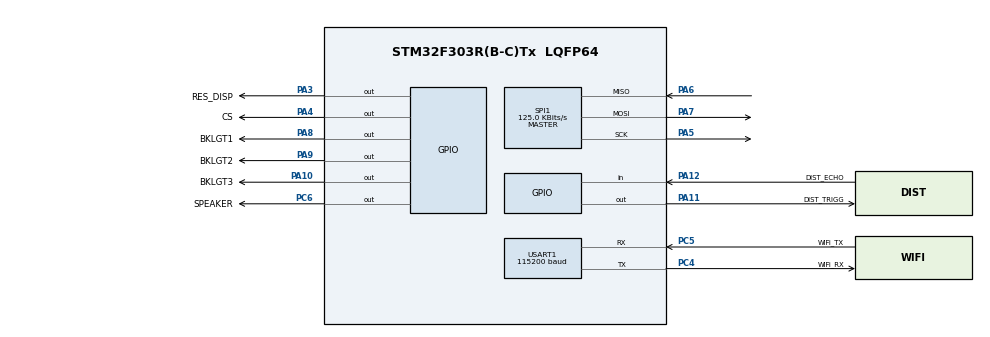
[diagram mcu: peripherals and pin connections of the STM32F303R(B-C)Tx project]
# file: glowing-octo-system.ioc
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Mcu.Family=STM32F3
Mcu.Name=STM32F303R(B-C)Tx
Mcu.Package=LQFP64
NVIC.PriorityGroup=NVIC_PRIORITYGROUP_4
NVIC.SPI1_IRQn=true\:0\:0\:false\:false\:true\:true
NVIC.USART1_IRQn=true\:0\:0\:false\:false\:true\:true
PA10.GPIO_Label=BKLGT3
PA10.Signal=GPIO_Output
PA11.GPIO_Label=DIST_TRIGG
PA11.GPIO_ModeDefaultOutputPP=GPIO_MODE_OUTPUT_PP
PA11.GPIO_PuPd=GPIO_NOPULL
PA11.GPIO_Speed=GPIO_SPEED_FREQ_LOW
PA11.PinState=GPIO_PIN_RESET
PA11.Signal=GPIO_Output
PA12.GPIO_Label=DIST_ECHO
PA12.GPIO_Mode=GPIO_MODE_INPUT
PA12.GPIO_PuPd=GPIO_PULLDOWN
PA12.Signal=GPIO_Input
PA13.Mode=Serial_Wire
PA13.Signal=SYS_JTMS-SWDIO
PA14.Mode=Serial_Wire
PA14.Signal=SYS_JTCK-SWCLK
PA3.GPIO_Label=RES_DISP
PA3.GPIO_ModeDefaultOutputPP=GPIO_MODE_OUTPUT_PP
PA3.GPIO_PuPd=GPIO_NOPULL
PA3.GPIO_Speed=GPIO_SPEED_FREQ_LOW
PA3.PinState=GPIO_PIN_SET
PA3.Signal=GPIO_Output
PA4.GPIO_Label=CS
PA4.PinState=GPIO_PIN_SET
PA4.Signal=GPIO_Output
PA5.Mode=Full_Duplex_Master
PA5.Signal=SPI1_SCK
PA6.Mode=Full_Duplex_Master
PA6.Signal=SPI1_MISO
PA7.Mode=Full_Duplex_Master
PA7.Signal=SPI1_MOSI
PA8.GPIO_Label=BKLGT1
PA8.Signal=GPIO_Output
PA9.GPIO_Label=BKLGT2
PA9.Signal=GPIO_Output
PC4.GPIO_Label=WiFi_RX
PC4.GPIO_ModeDefaultPP=GPIO_MODE_AF_PP
PC4.GPIO_PuPd=GPIO_NOPULL
PC4.GPIO_Speed=GPIO_SPEED_FREQ_HIGH
PC4.Mode=Asynchronous
PC4.Signal=USART1_TX
PC5.GPIO_Label=WiFi_TX
PC5.GPIO_ModeDefaultPP=GPIO_MODE_AF_PP
PC5.GPIO_PuPd=GPIO_NOPULL
PC5.GPIO_Speed=GPIO_SPEED_FREQ_HIGH
PC5.Mode=Asynchronous
PC5.Signal=USART1_RX
PC6.GPIO_Label=SPEAKER
PC6.GPIO_ModeDefaultOutputPP=GPIO_MODE_OUTPUT_PP
PC6.GPIO_PuPd=GPIO_NOPULL
PC6.GPIO_Speed=GPIO_SPEED_FREQ_LOW
PC6.PinState=GPIO_PIN_RESET
PC6.Signal=GPIO_Output
ProjectManager.HeapSize=0x200
ProjectManager.StackSize=0x400
ProjectManager.TargetToolchain=SW4STM32
RCC.AHBFreq_Value=8000000
RCC.APB1Freq_Value=8000000
RCC.APB1TimFreq_Value=8000000
RCC.APB2Freq_Value=8000000
RCC.APB2TimFreq_Value=8000000
RCC.CortexFreq_Value=8000000
RCC.HCLKFreq_Value=8000000
RCC.HSE_VALUE=8000000
RCC.HSI_VALUE=8000000
RCC.LSE_VALUE=32768
RCC.SYSCLKFreq_VALUE=8000000
RCC.USBFreq_Value=8000000
SPI1.BaudRatePrescaler=SPI_BAUDRATEPRESCALER_64
SPI1.CLKPhase=SPI_PHASE_2EDGE
SPI1.CLKPolarity=SPI_POLARITY_HIGH
SPI1.CalculateBaudRate=125.0 KBits/s
SPI1.DataSize=SPI_DATASIZE_8BIT
SPI1.Direction=SPI_DIRECTION_2LINES
SPI1.FirstBit=SPI_FIRSTBIT_LSB
SPI1.Mode=SPI_MODE_MASTER
SPI1.VirtualType=VM_MASTER
TIM1.Period=0xffff
TIM1.Prescaler=7
USART1.AutoBaudRateEnableParam=UART_ADVFEATURE_AUTOBAUDRATE_DISABLE
USART1.BaudRate=115200
USART1.VirtualMode-Asynchronous=VM_ASYNC
USART1.WordLength=WORDLENGTH_8B
VP_TIM1_VS_ClockSourceINT.Mode=Internal
board=custom

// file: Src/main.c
/* USER CODE BEGIN Header */
/**
*******************************************************************************
* @brief   		Main class
* @file    		main.c
* @author  		Anton Åbonde
* @version 		1.0
* @date    		2019-04-05
* @brief 		This class initializes all peripherals that are used in the
* 				program. In the infinite loop the unit listens for new data
* 				from the WiFi-module and if it is updated the new data will
* 				be printed.
*******************************************************************************
*/
/* USER CODE END Header */

#include "main.h"
#include "spi.h"
#include "tim.h"
#include "usart.h"
#include "gpio.h"

/* USER CODE BEGIN Includes */

#include "clockinit.h"
#include "display_functions.h"
#include "distance_sensor_functions.h"
#include "wifi_functions.h"

/* USER CODE END Includes */

void SystemClock_Config(void);

int main(void)
{

  /* MCU Configuration--------------------------------------------------------*/

  /* Reset of all peripherals, Initializes the Flash interface and the Systick. */
  HAL_Init();

  /* USER CODE BEGIN Init */
  // Initialize use of printf
  initialise_monitor_handles();
  /* USER CODE END Init */

  /* Configure the system clock */
  SystemClock_Config();

  /* Initialize all configured peripherals */
  MX_GPIO_Init();
  MX_TIM1_Init();
  MX_SPI1_Init();
  MX_USART1_UART_Init();
  /* USER CODE BEGIN 2 */
  HAL_SPI_MspInit(&hspi1);
  HAL_UART_MspInit(&huart1);
  LCD_Init();
  /* USER CODE END 2 */

  /* Infinite loop */

  /* USER CODE BEGIN WHILE */
//  float distance;
  int 	backlight_counter = 0,
  		update_counter = 1000;

  // Test the distance sensor and writes the result to the terminal.
  while(1){
	  /* USER CODE END WHILE */
	  /* USER CODE BEGIN 3 */
//	  distance = Measure_Distance();
	  if(Measure_Distance() < 300){
		  if(Measure_Distance() < 300){
			  if(update_counter > 50){
				  Get_Message();
				  update_counter = 0;
			  }
			  Backlight_On();
		  }
	  }
	  else if(backlight_counter > 30){
		  Backlight_Off();
		  backlight_counter = 0;
	  }
  	  backlight_counter++;
  	  update_counter++;
  	/* USER CODE END 3 */
  }

}
